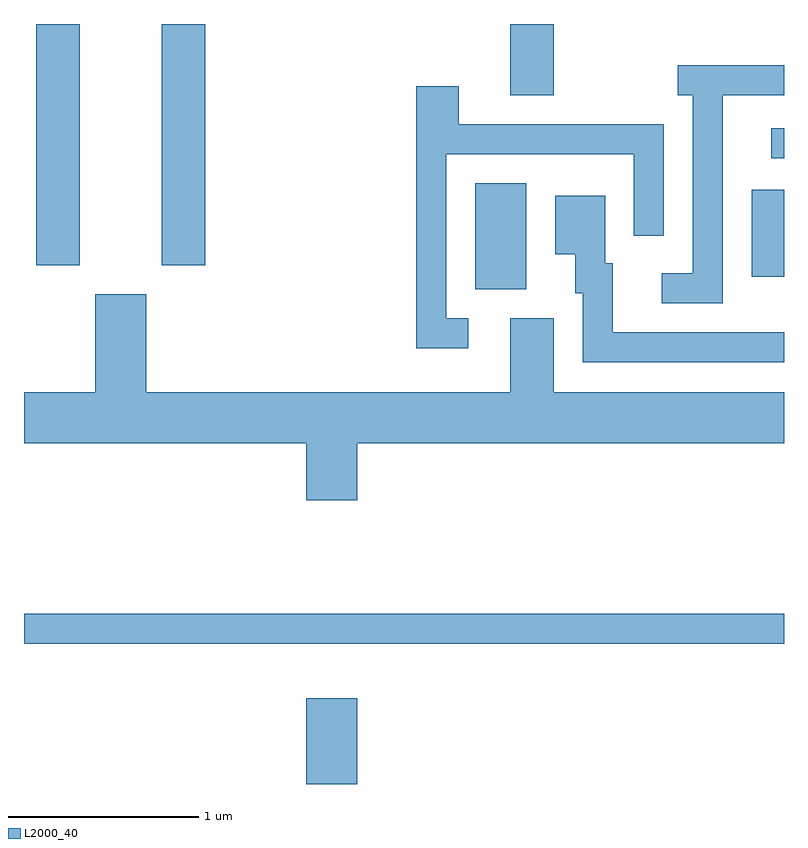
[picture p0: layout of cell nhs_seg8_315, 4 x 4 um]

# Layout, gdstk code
import gdstk
lib = gdstk.Library(unit=1e-6, precision=1e-09)
def R(c, l, rs):  # rectangles x0, y0, x1, y1
    for r in rs: c.add(gdstk.rectangle(r[:2], r[2:], *l))
def P(c, l, *ps):  # polygons
    for p in ps: c.add(gdstk.Polygon(p, *l))
L2000_40 = (2000, 40)

nhs_seg8_315 = lib.new_cell('nhs_seg8_315')
R(nhs_seg8_315, L2000_40, [(195.096,1892.342,195.364,1892.794), (193.611,1893.081,197.611,1893.239), (195.986,1894.946,196.254,1895.504), (197.441,1895.011,197.611,1895.469), (193.676,1895.071,193.904,1896.342), (194.336,1895.071,194.564,1896.342), (197.543,1895.636,197.611,1895.794), (196.171,1895.966,196.399,1896.342)])
P(nhs_seg8_315, L2000_40, [(197.289,1895.966),(197.611,1895.966),(197.611,1896.124),(197.053,1896.124),(197.053,1895.966),(197.131,1895.966),(197.131,1895.029),(196.968,1895.029),(196.968,1894.871),(197.289,1894.871)],
  [(195.948,1894.794),(195.834,1894.794),(195.834,1895.656),(196.821,1895.656),(196.821,1895.228),(196.979,1895.228),(196.979,1895.814),(195.899,1895.814),(195.899,1896.014),(195.676,1896.014),(195.676,1894.636),(195.948,1894.636)],
  [(197.611,1894.719),(196.709,1894.719),(196.709,1895.084),(196.669,1895.084),(196.669,1895.439),(196.406,1895.439),(196.406,1895.131),(196.511,1895.131),(196.511,1894.926),(196.551,1894.926),(196.551,1894.561),(197.611,1894.561)],
  [(195.364,1894.136),(197.611,1894.136),(197.611,1894.404),(196.399,1894.404),(196.399,1894.794),(196.171,1894.794),(196.171,1894.404),(194.254,1894.404),(194.254,1894.919),(193.986,1894.919),(193.986,1894.404),(193.611,1894.404),(193.611,1894.136),(195.096,1894.136),(195.096,1893.836),(195.364,1893.836)])

lib.write_gds('nhs_seg8_315.gds')
